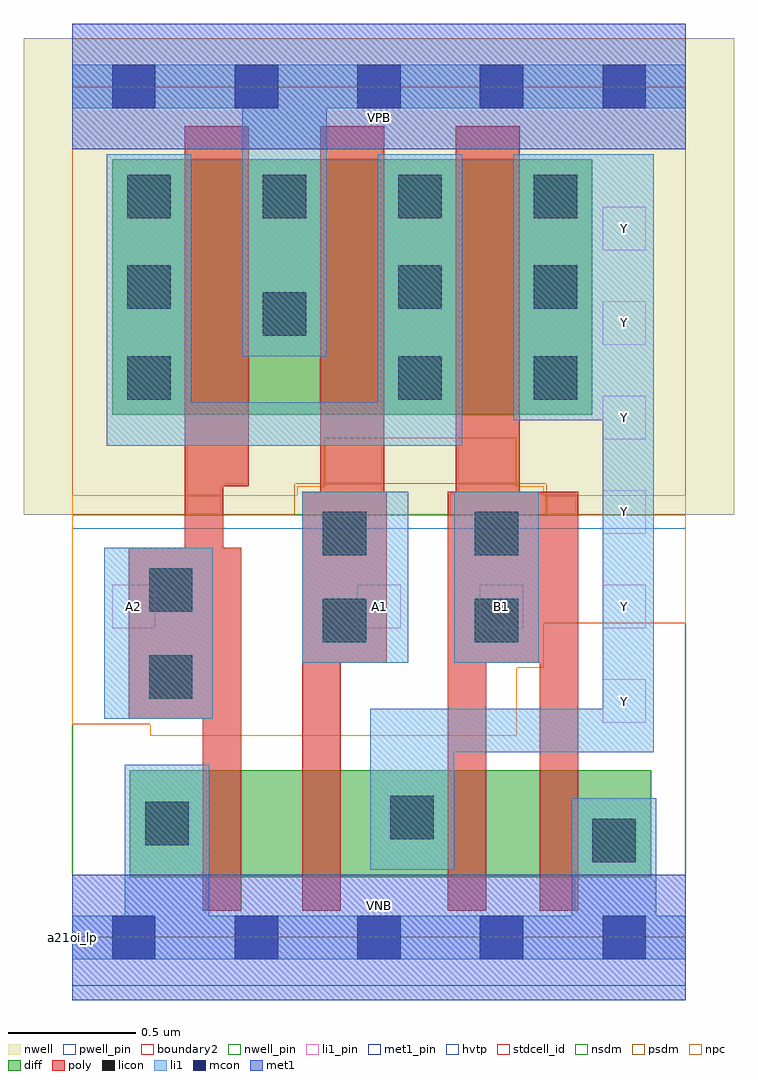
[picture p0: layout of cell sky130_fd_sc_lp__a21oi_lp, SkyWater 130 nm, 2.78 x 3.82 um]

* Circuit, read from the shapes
.subckt sky130_fd_sc_lp__a21oi_lp A1 A2 B1 VGND VNB VPB VPWR Y
XM1 n1 A2 VGND VNB sky130_fd_pr__nfet_01v8 w=0.42 l=0.15
XM2 Y A1 n1 VNB sky130_fd_pr__nfet_01v8 w=0.42 l=0.15
XM3 n2 B1 Y VNB sky130_fd_pr__nfet_01v8 w=0.42 l=0.15
XM4 VGND B1 n2 VNB sky130_fd_pr__nfet_01v8 w=0.42 l=0.15
XM5 VPWR A2 n3 VPB sky130_fd_pr__pfet_01v8_hvt w=1 l=0.25
XM6 n3 A1 VPWR VPB sky130_fd_pr__pfet_01v8_hvt w=1 l=0.25
XM7 Y B1 n3 VPB sky130_fd_pr__pfet_01v8_hvt w=1 l=0.25
.ends

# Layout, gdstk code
import gdstk
lib = gdstk.Library(unit=1e-6, precision=1e-09)
def R(c, l, rs):  # rectangles x0, y0, x1, y1
    for r in rs: c.add(gdstk.rectangle(r[:2], r[2:], *l))
def A(c, l, x, y, w, h, nx, ny, dx, dy):  # array of equal rectangles
    R(c, l, [(x+i*dx, y+j*dy, x+i*dx+w, y+j*dy+h) for i in range(nx) for j in range(ny)])
def P(c, l, *ps):  # polygons
    for p in ps: c.add(gdstk.Polygon(p, *l))
nwell_pin = (64, 16)
nwell = (64, 20)
diff = (65, 20)
poly = (66, 20)
licon = (66, 44)
li1_pin = (67, 16)
li1 = (67, 20)
mcon = (67, 44)
met1_pin = (68, 16)
met1 = (68, 20)
hvtp = (78, 44)
stdcell_id = (81, 4)
nsdm = (93, 44)
psdm = (94, 20)
npc = (95, 20)
pwell_pin = (122, 16)
boundary2 = (236, 0)

sky130_fd_sc_lp__a21oi_l = lib.new_cell('sky130_fd_sc_lp__a21oi_lp')
R(sky130_fd_sc_lp__a21oi_l, nwell_pin, [(0,3.085,2.4,3.33)])
R(sky130_fd_sc_lp__a21oi_l, nwell, [(-0.19,1.655,2.59,3.52)])
R(sky130_fd_sc_lp__a21oi_l, diff, [(0.225,0.235,2.265,0.655), (0.155,2.045,2.035,3.045)])
P(sky130_fd_sc_lp__a21oi_l, poly, [(0.69,3.175),(0.44,3.175),(0.44,1.525),(0.22,1.525),(0.22,0.855),(0.51,0.855),(0.51,0.105),(0.66,0.105),(0.66,1.525),(0.59,1.525),(0.59,1.765),(0.69,1.765)],
  [(1.23,1.745),(1.22,1.745),(1.22,3.175),(0.97,3.175),(0.97,1.745),(0.9,1.745),(0.9,0.105),(1.05,0.105),(1.05,1.075),(1.23,1.075)],
  [(1.98,1.745),(1.75,1.745),(1.75,3.175),(1.5,3.175),(1.5,1.745),(1.47,1.745),(1.47,0.105),(1.62,0.105),(1.62,1.075),(1.83,1.075),(1.83,0.105),(1.98,0.105)])
A(sky130_fd_sc_lp__a21oi_l, licon, 0.215, 2.815, 0.17, 0.17, 4, 1, 0.53, 0)
R(sky130_fd_sc_lp__a21oi_l, licon, [(2.035,0.295,2.205,0.465), (0.285,0.36,0.455,0.53), (1.245,0.385,1.415,0.555), (0.3,0.935,0.47,1.105), (0.98,1.155,1.15,1.325), (1.575,1.155,1.745,1.325), (0.3,1.275,0.47,1.445), (0.98,1.495,1.15,1.665), (1.575,1.495,1.745,1.665), (0.215,2.105,0.385,2.275), (1.275,2.105,1.445,2.275), (1.805,2.105,1.975,2.275), (0.745,2.355,0.915,2.525), (0.215,2.46,0.385,2.63), (1.275,2.46,1.445,2.63), (1.805,2.46,1.975,2.63)])
A(sky130_fd_sc_lp__a21oi_l, li1_pin, 1.115, 1.21, 0.17, 0.17, 3, 1, 0.48, 0)
A(sky130_fd_sc_lp__a21oi_l, li1_pin, 2.075, 1.58, 0.17, 0.17, 1, 4, 0, 0.37)
R(sky130_fd_sc_lp__a21oi_l, li1_pin, [(2.075,0.84,2.245,1.01), (0.155,1.21,0.325,1.38)])
R(sky130_fd_sc_lp__a21oi_l, li1, [(0.125,0.855,0.55,1.525), (0.9,1.075,1.315,1.745), (1.495,1.075,1.825,1.745)])
P(sky130_fd_sc_lp__a21oi_l, li1, [(0.665,2.275),(0.665,3.245),(0,3.245),(0,3.415),(2.4,3.415),(2.4,3.245),(0.995,3.245),(0.995,2.275)],
  [(1.955,0.085),(1.955,0.545),(2.285,0.545),(2.285,0.085),(2.4,0.085),(2.4,-0.085),(0,-0.085),(0,0.085),(0.205,0.085),(0.205,0.675),(0.535,0.675),(0.535,0.085)],
  [(1.195,2.095),(1.195,3.065),(1.525,3.065),(1.525,1.925),(0.135,1.925),(0.135,3.065),(0.465,3.065),(0.465,2.095)],
  [(2.075,0.895),(2.075,2.025),(1.725,2.025),(1.725,3.065),(2.275,3.065),(2.275,0.725),(1.495,0.725),(1.495,0.265),(1.165,0.265),(1.165,0.895)])
A(sky130_fd_sc_lp__a21oi_l, mcon, 0.155, -0.085, 0.17, 0.17, 5, 2, 0.48, 3.33)
R(sky130_fd_sc_lp__a21oi_l, met1_pin, [(0,0,2.4,0.245), (0,3.085,2.4,3.33)])
R(sky130_fd_sc_lp__a21oi_l, met1, [(0,-0.245,2.4,0.245), (0,3.085,2.4,3.575)])
R(sky130_fd_sc_lp__a21oi_l, hvtp, [(0,1.6,2.4,3.33)])
R(sky130_fd_sc_lp__a21oi_l, stdcell_id, [(0,0,2.4,3.33)])
R(sky130_fd_sc_lp__a21oi_l, nsdm, [(0,-0.19,2.4,1.655)])
P(sky130_fd_sc_lp__a21oi_l, psdm, [(2.4,3.52),(0,3.52),(0,1.655),(0.87,1.655),(0.87,1.775),(1.855,1.775),(1.855,1.655),(2.4,1.655)])
P(sky130_fd_sc_lp__a21oi_l, npc, [(2.4,1.73),(1.845,1.73),(1.845,1.765),(1.74,1.765),(1.74,1.955),(0.985,1.955),(0.985,1.765),(0.88,1.765),(0.88,1.73),(0,1.73),(0,0.835),(0.305,0.835),(0.305,0.79),(1.74,0.79),(1.74,1.055),(1.845,1.055),(1.845,1.23),(2.4,1.23)])
R(sky130_fd_sc_lp__a21oi_l, pwell_pin, [(0,0,2.4,0.245)])
R(sky130_fd_sc_lp__a21oi_l, boundary2, [(0,0,2.4,3.33)])
sky130_fd_sc_lp__a21oi_l.add(gdstk.Label('VNB', (1.2,0.123), layer=64, texttype=59))
sky130_fd_sc_lp__a21oi_l.add(gdstk.Label('VPB', (1.2,3.208), layer=64, texttype=5))
sky130_fd_sc_lp__a21oi_l.add(gdstk.Label('a21oi_lp', (0,0), layer=83, texttype=44))
sky130_fd_sc_lp__a21oi_l.add(gdstk.Label('VPWR', (1.2,3.208), layer=68, texttype=5))
sky130_fd_sc_lp__a21oi_l.add(gdstk.Label('VGND', (1.2,0.123), layer=68, texttype=5))
sky130_fd_sc_lp__a21oi_l.add(gdstk.Label('A1', (1.2,1.295), layer=67, texttype=5))
sky130_fd_sc_lp__a21oi_l.add(gdstk.Label('A2', (0.24,1.295), layer=67, texttype=5))
sky130_fd_sc_lp__a21oi_l.add(gdstk.Label('B1', (1.68,1.295), layer=67, texttype=5))
sky130_fd_sc_lp__a21oi_l.add(gdstk.Label('Y', (2.16,0.925), layer=67, texttype=5))
sky130_fd_sc_lp__a21oi_l.add(gdstk.Label('Y', (2.16,1.295), layer=67, texttype=5))
sky130_fd_sc_lp__a21oi_l.add(gdstk.Label('Y', (2.16,1.665), layer=67, texttype=5))
sky130_fd_sc_lp__a21oi_l.add(gdstk.Label('Y', (2.16,2.035), layer=67, texttype=5))
sky130_fd_sc_lp__a21oi_l.add(gdstk.Label('Y', (2.16,2.405), layer=67, texttype=5))
sky130_fd_sc_lp__a21oi_l.add(gdstk.Label('Y', (2.16,2.775), layer=67, texttype=5))

lib.write_gds('sky130_fd_sc_lp__a21oi_lp.gds')
